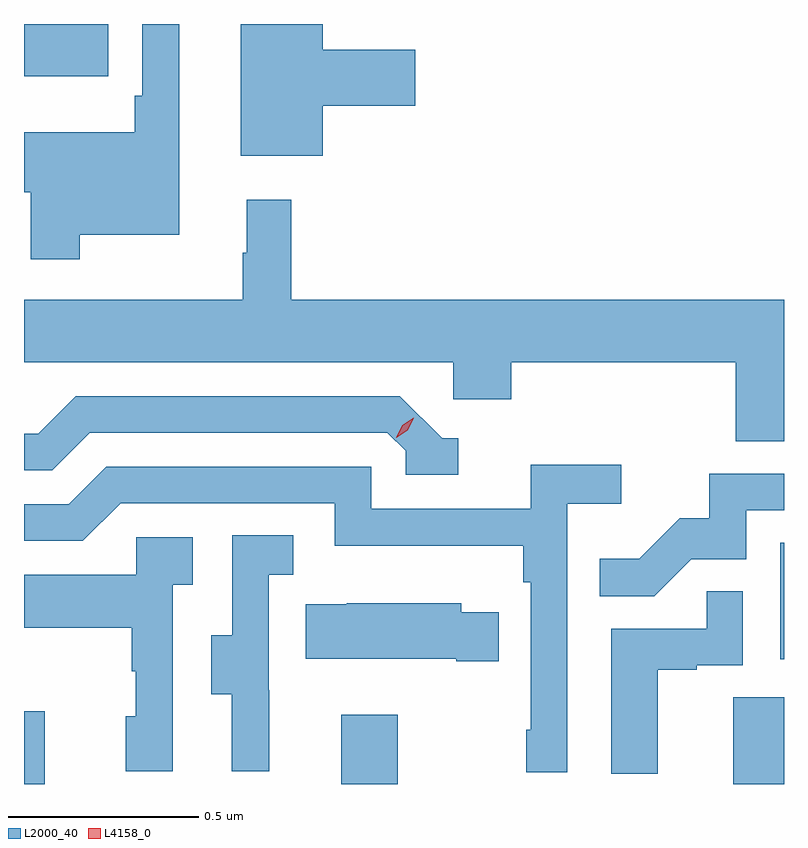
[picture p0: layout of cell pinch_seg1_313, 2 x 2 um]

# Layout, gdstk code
import gdstk
lib = gdstk.Library(unit=1e-6, precision=1e-09)
def R(c, l, rs):  # rectangles x0, y0, x1, y1
    for r in rs: c.add(gdstk.rectangle(r[:2], r[2:], *l))
def P(c, l, *ps):  # polygons
    for p in ps: c.add(gdstk.Polygon(p, *l))
L2000_40 = (2000, 40)
L4158_0 = (4158, 0)

pinch_seg1_313 = lib.new_cell('pinch_seg1_313')
R(pinch_seg1_313, L2000_40, [(933.268,555.95,933.323,556.141), (934.103,555.95,934.251,556.132), (935.135,555.95,935.268,556.178), (935.258,556.278,935.268,556.585), (933.268,557.813,933.49,557.95)])
P(pinch_seg1_313, L2000_40, [(933.415,557.396),(933.676,557.396),(933.676,557.95),(933.579,557.95),(933.579,557.761),(933.559,557.761),(933.559,557.665),(933.268,557.665),(933.268,557.507),(933.286,557.507),(933.286,557.331),(933.415,557.331)],
  [(934.054,557.735),(934.297,557.735),(934.297,557.882),(934.054,557.882),(934.054,557.95),(933.839,557.95),(933.839,557.603),(934.054,557.603)],
  [(935.268,557.224),(933.971,557.224),(933.971,557.488),(933.854,557.488),(933.854,557.348),(933.843,557.348),(933.843,557.224),(933.268,557.224),(933.268,557.06),(934.398,557.06),(934.398,556.962),(934.55,556.962),(934.55,557.06),(935.141,557.06),(935.141,556.852),(935.268,556.852)],
  [(934.411,556.86),(934.368,556.86),(934.257,556.971),(933.404,556.971),(933.305,556.872),(933.268,556.872),(933.268,556.776),(933.342,556.776),(933.441,556.875),(934.224,556.875),(934.272,556.827),(934.272,556.764),(934.411,556.764)],
  [(934.698,556.688),(934.84,556.688),(934.84,556.79),(934.601,556.79),(934.601,556.674),(934.182,556.674),(934.182,556.785),(933.485,556.785),(933.386,556.686),(933.268,556.686),(933.268,556.59),(933.423,556.59),(933.522,556.689),(934.086,556.689),(934.086,556.577),(934.582,556.577),(934.582,556.481),(934.602,556.481),(934.602,556.093),(934.59,556.093),(934.59,555.981),(934.698,555.981)],
  [(935.024,556.542),(935.169,556.542),(935.169,556.671),(935.268,556.671),(935.268,556.767),(935.071,556.767),(935.071,556.65),(934.994,556.65),(934.887,556.543),(934.783,556.543),(934.783,556.444),(934.926,556.444)],
  [(933.914,556.197),(933.912,556.197),(933.912,556.501),(933.976,556.501),(933.976,556.604),(933.816,556.604),(933.816,556.341),(933.761,556.341),(933.761,556.186),(933.815,556.186),(933.815,555.984),(933.914,555.984)],
  [(933.66,556.475),(933.712,556.475),(933.712,556.599),(933.564,556.599),(933.564,556.501),(933.268,556.501),(933.268,556.361),(933.552,556.361),(933.552,556.247),(933.562,556.247),(933.562,556.128),(933.536,556.128),(933.536,555.984),(933.66,555.984)],
  [(934.936,556.251),(935.039,556.251),(935.039,556.263),(935.16,556.263),(935.16,556.457),(935.065,556.457),(935.065,556.359),(934.814,556.359),(934.814,555.977),(934.936,555.977)],
  [(934.517,556.402),(934.419,556.402),(934.419,556.426),(934.117,556.426),(934.117,556.423),(934.009,556.423),(934.009,556.28),(934.406,556.28),(934.406,556.273),(934.517,556.273)])
P(pinch_seg1_313, L4158_0, [(934.248,556.861),(934.248,556.861),(934.263,556.894),(934.293,556.914),(934.294,556.914),(934.294,556.914),(934.278,556.881),(934.248,556.861)])

lib.write_gds('pinch_seg1_313.gds')
